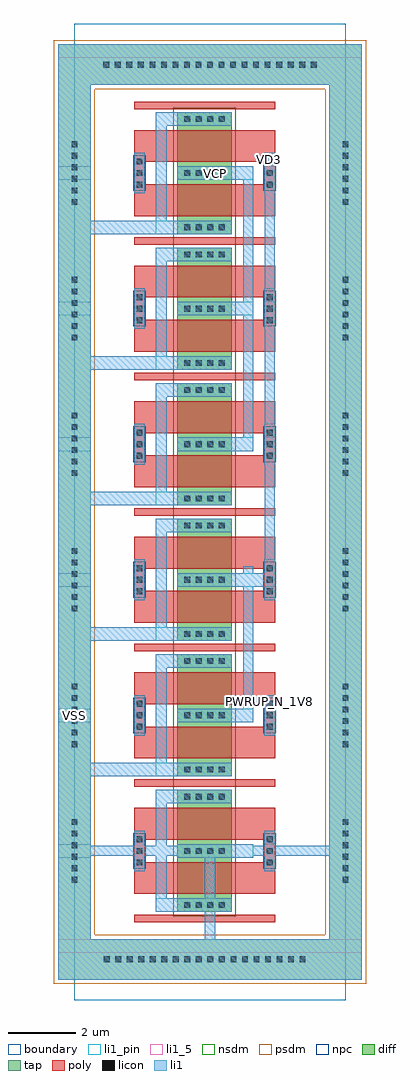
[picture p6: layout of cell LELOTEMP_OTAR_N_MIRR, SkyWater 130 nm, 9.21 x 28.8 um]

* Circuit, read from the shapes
.subckt LELOTEMP_OTAR_N_MIRR PWRUP_N_1V8 VCP VD3 VSS
XM1 VSS VSS VSS VSS sky130_fd_pr__nfet_01v8 w=1.6 l=0.94 m=2
XM2 VD3 PWRUP_N_1V8 VSS VSS sky130_fd_pr__nfet_01v8 w=1.6 l=0.94 m=2
XM3 VD3 VD3 VSS VSS sky130_fd_pr__nfet_01v8 w=1.6 l=0.94 m=2
XM4 VCP VD3 VSS VSS sky130_fd_pr__nfet_01v8 w=1.6 l=0.94 m=6
.ends

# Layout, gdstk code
import gdstk
lib = gdstk.Library(unit=1e-6, precision=1e-09)
def R(c, l, rs):  # rectangles x0, y0, x1, y1
    for r in rs: c.add(gdstk.rectangle(r[:2], r[2:], *l))
def A(c, l, x, y, w, h, nx, ny, dx, dy):  # array of equal rectangles
    R(c, l, [(x+i*dx, y+j*dy, x+i*dx+w, y+j*dy+h) for i in range(nx) for j in range(ny)])
diff = (65, 20)
tap = (65, 44)
poly = (66, 20)
licon = (66, 44)
li1_5 = (67, 5)
li1_pin = (67, 16)
li1 = (67, 20)
nsdm = (93, 44)
psdm = (94, 20)
npc = (95, 20)
boundary = (235, 4)

reyatr_nch_4c5f0d = lib.new_cell('REYATR_NCH_4C5F0D')
R(reyatr_nch_4c5f0d, diff, [(3.04,0.2,4.64,3.8)])
R(reyatr_nch_4c5f0d, tap, [(-0.48,-0.2,0.48,4.2), (7.52,-0.2,8.48,4.2)])
R(reyatr_nch_4c5f0d, poly, [(1.76,-0.11,5.92,0.11), (1.76,0.73,5.92,1.67), (1.76,1.67,2.08,2.33), (5.6,1.67,5.92,2.33), (1.76,2.33,5.92,3.27), (1.76,3.89,5.92,4.11)])
A(reyatr_nch_4c5f0d, licon, 3.245, 0.315, 0.17, 0.17, 4, 3, 0.34, 1.6)
A(reyatr_nch_4c5f0d, licon, -0.085, 1.065, 0.17, 0.17, 1, 6, 0, 0.34)
A(reyatr_nch_4c5f0d, licon, 7.915, 1.065, 0.17, 0.17, 1, 6, 0, 0.34)
A(reyatr_nch_4c5f0d, licon, 1.835, 1.575, 0.17, 0.17, 1, 3, 0, 0.34)
A(reyatr_nch_4c5f0d, licon, 5.675, 1.575, 0.17, 0.17, 1, 3, 0, 0.34)
R(reyatr_nch_4c5f0d, li1_pin, [(2.4,0.2,4.64,0.6), (-0.48,1.8,0.48,2.2), (3.04,1.8,5.92,2.2), (5.6,2.2,5.92,2.6)])
R(reyatr_nch_4c5f0d, li1, [(-0.48,-0.2,0.48,4.2), (7.52,-0.2,8.48,4.2), (2.4,0.2,4.64,0.6), (2.4,0.6,2.72,3.4), (1.76,1.4,2.08,2.6), (5.6,1.4,5.92,1.8), (3.04,1.8,5.92,2.2), (5.6,2.2,5.92,2.6), (2.4,3.4,4.64,3.8)])
R(reyatr_nch_4c5f0d, nsdm, [(2.915,0.075,4.765,3.925)])
R(reyatr_nch_4c5f0d, psdm, [(-0.605,-0.325,0.605,4.325), (7.395,-0.325,8.605,4.325)])
R(reyatr_nch_4c5f0d, npc, [(1.735,1.475,2.105,2.525), (5.575,1.475,5.945,2.525)])
R(reyatr_nch_4c5f0d, boundary, [(0,0,8,4)])
reyatr_nch_4c5f0d.add(gdstk.Label('D', (4.48,2), layer=67, texttype=5))
reyatr_nch_4c5f0d.add(gdstk.Label('G', (5.76,2.4), layer=67, texttype=5))
reyatr_nch_4c5f0d.add(gdstk.Label('S', (3.52,0.4), layer=67, texttype=5))
reyatr_nch_4c5f0d.add(gdstk.Label('B', (0,2), layer=67, texttype=5))

reyatr_nch_4c5f0 = lib.new_cell('REYATR_NCH_4C5F0')
R(reyatr_nch_4c5f0, diff, [(3.04,0.2,4.64,3.8)])
R(reyatr_nch_4c5f0, tap, [(-0.48,-0.2,0.48,4.2), (7.52,-0.2,8.48,4.2)])
R(reyatr_nch_4c5f0, poly, [(1.76,-0.11,5.92,0.11), (1.76,0.73,5.92,1.67), (1.76,1.67,2.08,2.33), (5.6,1.67,5.92,2.33), (1.76,2.33,5.92,3.27), (1.76,3.89,5.92,4.11)])
A(reyatr_nch_4c5f0, licon, 3.245, 0.315, 0.17, 0.17, 4, 3, 0.34, 1.6)
A(reyatr_nch_4c5f0, licon, -0.085, 1.065, 0.17, 0.17, 1, 6, 0, 0.34)
A(reyatr_nch_4c5f0, licon, 7.915, 1.065, 0.17, 0.17, 1, 6, 0, 0.34)
A(reyatr_nch_4c5f0, licon, 1.835, 1.575, 0.17, 0.17, 1, 3, 0, 0.34)
A(reyatr_nch_4c5f0, licon, 5.675, 1.575, 0.17, 0.17, 1, 3, 0, 0.34)
R(reyatr_nch_4c5f0, li1_pin, [(2.4,0.2,4.64,0.6), (-0.48,1.8,0.48,2.2), (3.04,1.8,5.28,2.2), (5.6,2.2,5.92,2.6)])
R(reyatr_nch_4c5f0, li1, [(-0.48,-0.2,0.48,4.2), (7.52,-0.2,8.48,4.2), (2.4,0.2,4.64,0.6), (2.4,0.6,2.72,3.4), (1.76,1.4,2.08,2.6), (5.6,1.4,5.92,2.6), (3.04,1.8,5.28,2.2), (2.4,3.4,4.64,3.8)])
R(reyatr_nch_4c5f0, nsdm, [(2.915,0.075,4.765,3.925)])
R(reyatr_nch_4c5f0, psdm, [(-0.605,-0.325,0.605,4.325), (7.395,-0.325,8.605,4.325)])
R(reyatr_nch_4c5f0, npc, [(1.735,1.475,2.105,2.525), (5.575,1.475,5.945,2.525)])
R(reyatr_nch_4c5f0, boundary, [(0,0,8,4)])
reyatr_nch_4c5f0.add(gdstk.Label('D', (4.16,2), layer=67, texttype=5))
reyatr_nch_4c5f0.add(gdstk.Label('G', (5.76,2.4), layer=67, texttype=5))
reyatr_nch_4c5f0.add(gdstk.Label('S', (3.52,0.4), layer=67, texttype=5))
reyatr_nch_4c5f0.add(gdstk.Label('B', (0,2), layer=67, texttype=5))

reyatr_nch_4ctapbot = lib.new_cell('REYATR_NCH_4CTAPBOT')
R(reyatr_nch_4ctapbot, tap, [(-0.48,0.6,8.48,1.8), (-0.48,1.8,0.48,2.6), (7.52,1.8,8.48,2.6)])
A(reyatr_nch_4ctapbot, licon, 0.865, 1.115, 0.17, 0.17, 18, 1, 0.34, 0)
R(reyatr_nch_4ctapbot, li1_5, [(-0.48,1.4,8.48,1.8)])
R(reyatr_nch_4ctapbot, li1, [(-0.48,0.6,8.48,1.8), (-0.48,1.8,0.48,2.6), (7.52,1.8,8.48,2.6)])
R(reyatr_nch_4ctapbot, psdm, [(-0.605,0.475,8.605,1.925), (-0.605,1.925,0.605,2.725), (7.395,1.925,8.605,2.725)])
R(reyatr_nch_4ctapbot, boundary, [(0,0,8,2.4)])
reyatr_nch_4ctapbot.add(gdstk.Label('B', (4,1.6), layer=67, texttype=5))

reyatr_nch_4ctaptop = lib.new_cell('REYATR_NCH_4CTAPTOP')
R(reyatr_nch_4ctaptop, tap, [(-0.48,-0.2,0.48,0.6), (7.52,-0.2,8.48,0.6), (-0.48,0.6,8.48,1.8)])
A(reyatr_nch_4ctaptop, licon, 0.855, 1.115, 0.17, 0.17, 19, 1, 0.34, 0)
R(reyatr_nch_4ctaptop, li1_5, [(-0.48,1.4,8.48,1.8)])
R(reyatr_nch_4ctaptop, li1, [(-0.48,-0.2,0.48,0.6), (7.52,-0.2,8.48,0.6), (-0.48,0.6,8.48,1.8)])
R(reyatr_nch_4ctaptop, psdm, [(-0.605,-0.325,0.605,0.475), (7.395,-0.325,8.605,0.475), (-0.605,0.475,8.605,1.925)])
R(reyatr_nch_4ctaptop, boundary, [(0,0,8,2.4)])
reyatr_nch_4ctaptop.add(gdstk.Label('B', (4,1.6), layer=67, texttype=5))

lelotemp_otar_n_mirr = lib.new_cell('LELOTEMP_OTAR_N_MIRR')
R(lelotemp_otar_n_mirr, li1_pin, [(-0.48,8.2,0.48,8.6), (5.6,8.6,5.92,9), (3.04,24.2,5.28,24.6), (5.6,24.6,5.92,25)])
A(lelotemp_otar_n_mirr, li1, 0, 6.6, 3.52, 0.4, 1, 5, 0, 4)
R(lelotemp_otar_n_mirr, li1, [(3.85,1.2,4.15,4.25), (0,4.25,8,4.55), (-0.48,8.2,0.48,8.6), (4.98,8.4,5.28,12.8), (5.6,8.6,5.92,9), (5.61,12.4,5.91,24.6), (4.98,16.4,5.28,24.2), (3.04,24.2,5.28,24.6), (5.6,24.6,5.92,25)])
A(lelotemp_otar_n_mirr, nsdm, 2.915, 6.325, 1.85, 0.15, 1, 5, 0, 4)
R(lelotemp_otar_n_mirr, boundary, [(0,0,8,28.8)])
lelotemp_otar_n_mirr.add(gdstk.Reference(reyatr_nch_4c5f0d, (0,10.4)))
lelotemp_otar_n_mirr.add(gdstk.Reference(reyatr_nch_4c5f0, (0,6.4)))
lelotemp_otar_n_mirr.add(gdstk.Reference(reyatr_nch_4c5f0, (0,14.4)))
lelotemp_otar_n_mirr.add(gdstk.Reference(reyatr_nch_4c5f0, (0,18.4)))
lelotemp_otar_n_mirr.add(gdstk.Reference(reyatr_nch_4c5f0, (0,22.4)))
lelotemp_otar_n_mirr.add(gdstk.Reference(reyatr_nch_4c5f0, (0,2.4)))
lelotemp_otar_n_mirr.add(gdstk.Reference(reyatr_nch_4ctapbot, (0,0)))
lelotemp_otar_n_mirr.add(gdstk.Reference(reyatr_nch_4ctaptop, (0,26.4)))
lelotemp_otar_n_mirr.add(gdstk.Label('PWRUP_N_1V8', (5.76,8.8), layer=67, texttype=5))
lelotemp_otar_n_mirr.add(gdstk.Label('VCP', (4.16,24.4), layer=67, texttype=5))
lelotemp_otar_n_mirr.add(gdstk.Label('VD3', (5.76,24.8), layer=67, texttype=5))
lelotemp_otar_n_mirr.add(gdstk.Label('VSS', (0,8.4), layer=67, texttype=5))

lib.write_gds('LELOTEMP_OTAR_N_MIRR.gds')
